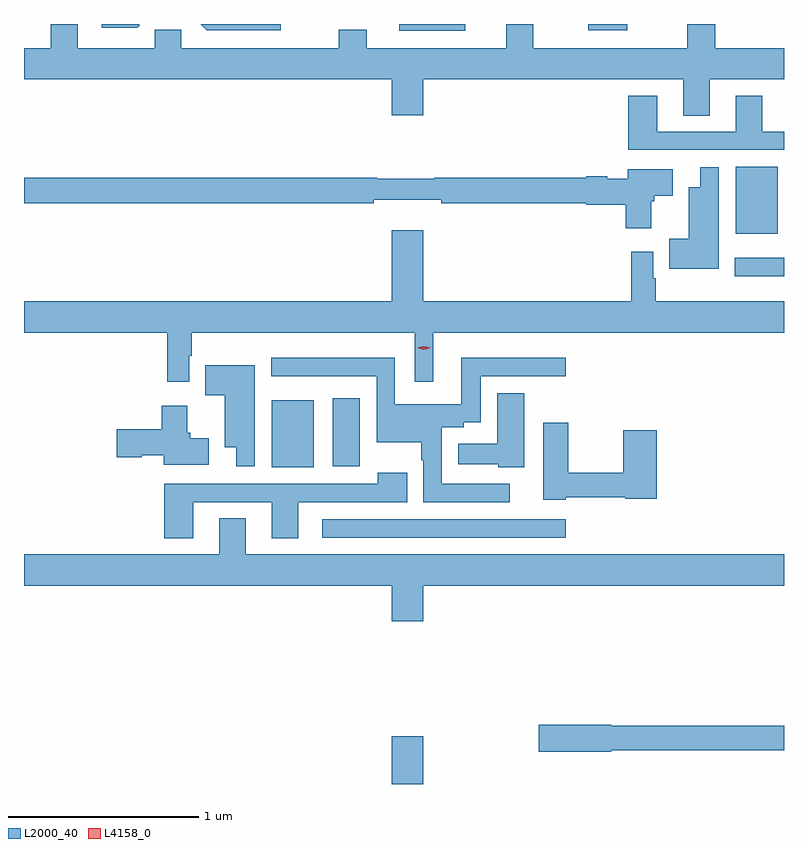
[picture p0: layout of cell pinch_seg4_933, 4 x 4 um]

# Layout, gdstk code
import gdstk
lib = gdstk.Library(unit=1e-6, precision=1e-09)
def R(c, l, rs):  # rectangles x0, y0, x1, y1
    for r in rs: c.add(gdstk.rectangle(r[:2], r[2:], *l))
def P(c, l, *ps):  # polygons
    for p in ps: c.add(gdstk.Polygon(p, *l))
L2000_40 = (2000, 40)
L4158_0 = (4158, 0)

pinch_seg4_933 = lib.new_cell('pinch_seg4_933')
R(pinch_seg4_933, L2000_40, [(668.504,765.14,668.668,765.391), (668.139,766.437,669.418,766.533), (667.871,766.808,668.092,767.161), (668.192,766.812,668.335,767.17), (670.31,767.813,670.568,767.91), (670.313,768.035,670.534,768.388), (668.543,769.104,668.89,769.14), (669.539,769.107,669.742,769.14)])
P(pinch_seg4_933, L2000_40, [(670.177,768.848),(670.568,768.848),(670.568,769.012),(670.206,769.012),(670.206,769.14),(670.06,769.14),(670.06,769.012),(669.247,769.012),(669.247,769.14),(669.107,769.14),(669.107,769.012),(668.371,769.012),(668.371,769.111),(668.224,769.111),(668.224,769.012),(667.395,769.012),(667.395,769.11),(667.256,769.11),(667.256,769.012),(666.85,769.012),(666.85,769.14),(666.71,769.14),(666.71,769.012),(666.568,769.012),(666.568,768.848),(668.504,768.848),(668.504,768.66),(668.668,768.66),(668.668,768.848),(670.037,768.848),(670.037,768.658),(670.177,768.658)],
  [(667.174,769.129),(667.174,769.14),(666.978,769.14),(666.978,769.119),(667.164,769.119)],
  [(667.918,769.14),(667.497,769.14),(667.53,769.107),(667.918,769.107)],
  [(670.568,768.573),(670.453,768.573),(670.453,768.763),(670.313,768.763),(670.313,768.573),(669.901,768.573),(669.901,768.763),(669.749,768.763),(669.749,768.477),(670.568,768.477)],
  [(670.225,768.385),(670.127,768.385),(670.127,768.28),(670.067,768.28),(670.067,768.01),(669.964,768.01),(669.964,767.852),(670.225,767.852)],
  [(669.868,768.207),(669.886,768.207),(669.886,768.236),(669.982,768.236),(669.982,768.376),(669.746,768.376),(669.746,768.325),(669.639,768.325),(669.639,768.34),(669.528,768.34),(669.528,768.332),(668.728,768.332),(668.728,768.325),(668.428,768.325),(668.428,768.332),(666.568,768.332),(666.568,768.196),(668.408,768.196),(668.408,768.215),(668.764,768.215),(668.764,768.196),(669.528,768.196),(669.528,768.188),(669.734,768.188),(669.734,768.066),(669.868,768.066)],
  [(667.437,767.394),(667.45,767.394),(667.45,767.516),(668.625,767.516),(668.625,767.256),(668.722,767.256),(668.722,767.516),(670.568,767.516),(670.568,767.68),(669.892,767.68),(669.892,767.802),(669.879,767.802),(669.879,767.941),(669.763,767.941),(669.763,767.68),(668.668,767.68),(668.668,768.055),(668.504,768.055),(668.504,767.68),(666.568,767.68),(666.568,767.516),(667.321,767.516),(667.321,767.256),(667.437,767.256)],
  [(669.124,766.719),(668.766,766.719),(668.766,767.018),(668.883,767.018),(668.883,767.043),(668.971,767.043),(668.971,767.286),(669.418,767.286),(669.418,767.383),(668.87,767.383),(668.87,767.14),(668.52,767.14),(668.52,767.383),(667.868,767.383),(667.868,767.286),(668.424,767.286),(668.424,766.94),(668.658,766.94),(668.658,766.844),(668.67,766.844),(668.67,766.623),(669.124,766.623)],
  [(667.783,767.344),(667.522,767.344),(667.522,767.186),(667.625,767.186),(667.625,766.913),(667.685,766.913),(667.685,766.812),(667.783,766.812)],
  [(669.202,767.197),(669.059,767.197),(669.059,766.93),(668.853,766.93),(668.853,766.823),(669.063,766.823),(669.063,766.808),(669.202,766.808)],
  [(667.54,766.96),(667.444,766.96),(667.444,766.989),(667.426,766.989),(667.426,767.131),(667.292,767.131),(667.292,767.006),(667.056,767.006),(667.056,766.859),(667.188,766.859),(667.188,766.871),(667.304,766.871),(667.304,766.82),(667.54,766.82)],
  [(669.42,766.65),(669.732,766.65),(669.732,766.642),(669.899,766.642),(669.899,767.002),(669.721,767.002),(669.721,766.778),(669.432,766.778),(669.432,767.041),(669.302,767.041),(669.302,766.637),(669.42,766.637)],
  [(667.459,766.623),(667.871,766.623),(667.871,766.434),(668.011,766.434),(668.011,766.623),(668.585,766.623),(668.585,766.777),(668.429,766.777),(668.429,766.719),(667.307,766.719),(667.307,766.434),(667.459,766.434)],
  [(668.504,765.996),(668.668,765.996),(668.668,766.184),(670.568,766.184),(670.568,766.348),(667.735,766.348),(667.735,766.538),(667.595,766.538),(667.595,766.348),(666.568,766.348),(666.568,766.184),(668.504,766.184)],
  [(669.66,765.318),(670.568,765.318),(670.568,765.446),(669.66,765.446),(669.66,765.452),(669.276,765.452),(669.276,765.31),(669.66,765.31)])
P(pinch_seg4_933, L4158_0, [(668.673,767.425),(668.638,767.435),(668.638,767.435),(668.638,767.435),(668.673,767.445),(668.708,767.435),(668.708,767.435),(668.708,767.435)])

lib.write_gds('pinch_seg4_933.gds')
